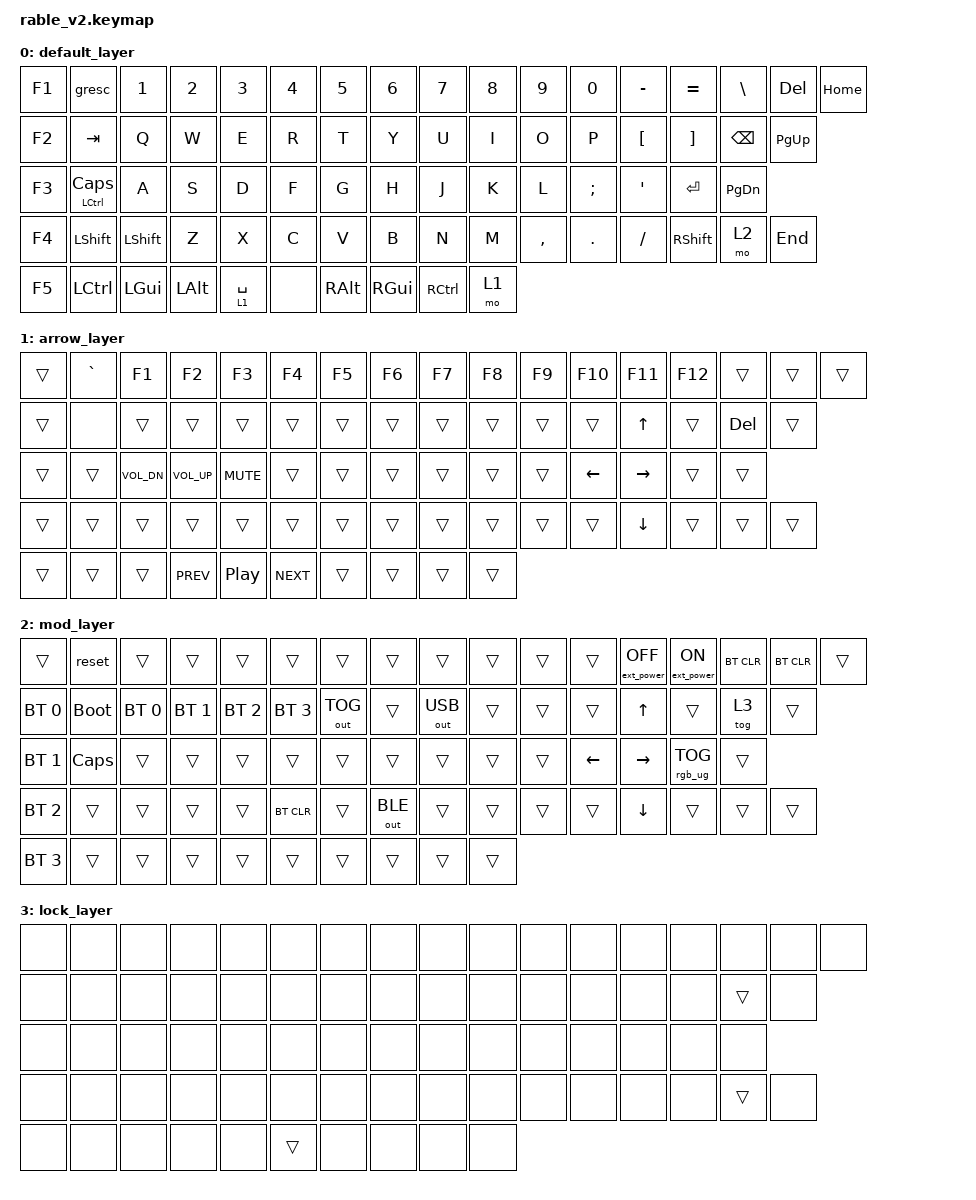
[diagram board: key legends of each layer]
/*
 * Copyright (c) 2021 Nick Winans
 *
 * SPDX-License-Identifier: MIT
 */

#include <behaviors.dtsi>
#include <dt-bindings/zmk/bt.h>
#include <dt-bindings/zmk/ext_power.h>
#include <dt-bindings/zmk/keys.h>
#include <dt-bindings/zmk/outputs.h>
#include <dt-bindings/zmk/rgb.h>

/ {
    keymap {
        compatible = "zmk,keymap";

        default_layer {
            bindings = <
&kp F1  &gresc          &kp N1     &kp N2    &kp N3       &kp N4  &kp N5    &kp N6    &kp N7     &kp N8  &kp N9     &kp N0    &kp MINUS  &kp EQUAL  &kp BACKSLASH  &kp DELETE  &kp HOME
&kp F2  &kp TAB         &kp Q      &kp W     &kp E        &kp R   &kp T     &kp Y     &kp U      &kp I   &kp O      &kp P     &kp LBKT   &kp RBKT   &kp BACKSPACE  &kp PG_UP
&kp F3  &mt LCTRL CAPS  &kp A      &kp S     &kp D        &kp F   &kp G     &kp H     &kp J      &kp K   &kp L      &kp SEMI  &kp SQT    &kp RET    &kp PG_DN
&kp F4  &kp LSHFT       &kp LSHFT  &kp Z     &kp X        &kp C   &kp V     &kp B     &kp N      &kp M   &kp COMMA  &kp DOT   &kp FSLH   &kp RSHFT  &mo 2          &kp END
&kp F5  &kp LCTRL       &kp LGUI   &kp LALT  &lt 1 SPACE  &none   &kp RALT  &kp RGUI  &kp RCTRL  &mo 1
            >;
        };

        arrow_layer {
            bindings = <
&trans  &kp GRAVE  &kp F1        &kp F2        &kp F3      &kp F4      &kp F5  &kp F6  &kp F7  &kp F8  &kp F9  &kp F10   &kp F11    &kp F12  &trans   &trans  &trans
&trans  &none      &trans        &trans        &trans      &trans      &trans  &trans  &trans  &trans  &trans  &trans    &kp UP     &trans   &kp DEL  &trans
&trans  &trans     &kp C_VOL_DN  &kp C_VOL_UP  &kp K_MUTE  &trans      &trans  &trans  &trans  &trans  &trans  &kp LEFT  &kp RIGHT  &trans   &trans
&trans  &trans     &trans        &trans        &trans      &trans      &trans  &trans  &trans  &trans  &trans  &trans    &kp DOWN   &trans   &trans   &trans
&trans  &trans     &trans        &kp C_PREV    &kp C_PP    &kp C_NEXT  &trans  &trans  &trans  &trans
            >;
        };

        mod_layer {
            bindings = <
&trans        &reset       &trans        &trans        &trans        &trans        &trans        &trans        &trans        &trans  &trans  &trans          &ext_power EP_OFF  &ext_power EP_ON  &bt BT_CLR  &bt BT_CLR  &trans
&bt BT_SEL 0  &bootloader  &bt BT_SEL 0  &bt BT_SEL 1  &bt BT_SEL 2  &bt BT_SEL 3  &out OUT_TOG  &trans        &out OUT_USB  &trans  &trans  &trans          &kp UP_ARROW       &trans            &tog 3      &trans
&bt BT_SEL 1  &kp CAPS     &trans        &trans        &trans        &trans        &trans        &trans        &trans        &trans  &trans  &kp LEFT_ARROW  &kp RIGHT_ARROW    &rgb_ug RGB_TOG   &trans
&bt BT_SEL 2  &trans       &trans        &trans        &trans        &bt BT_CLR    &trans        &out OUT_BLE  &trans        &trans  &trans  &trans          &kp DOWN_ARROW     &trans            &trans      &trans
&bt BT_SEL 3  &trans       &trans        &trans        &trans        &trans        &trans        &trans        &trans        &trans
            >;
        };

        lock_layer {
            bindings = <
&none  &none  &none  &none  &none  &none   &none  &none  &none  &none  &none  &none  &none  &none  &none   &none  &none
&none  &none  &none  &none  &none  &none   &none  &none  &none  &none  &none  &none  &none  &none  &trans  &none
&none  &none  &none  &none  &none  &none   &none  &none  &none  &none  &none  &none  &none  &none  &none
&none  &none  &none  &none  &none  &none   &none  &none  &none  &none  &none  &none  &none  &none  &trans  &none
&none  &none  &none  &none  &none  &trans  &none  &none  &none  &none
            >;
        };
    };
};
